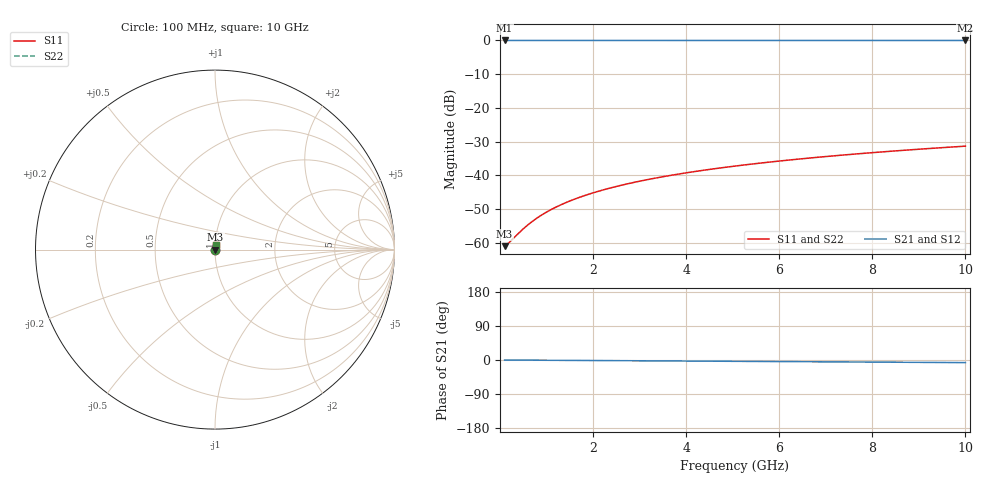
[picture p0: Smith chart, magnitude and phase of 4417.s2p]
# Hz S RI R 50.00
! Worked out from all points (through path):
!   100 points, 100 MHz to 10 GHz, reference 50 ohm
!   highest |S21| = -0.01 dB at 100 MHz (marker M1); lowest = 0.0 dB at 10 GHz (marker M2)
!   lowest |S11| = -61.0 dB at 100 MHz (marker M3), VSWR 1.00, Z = 50.1 + j0.0271 ohm
!   |S11| at or under -10 dB: start of sweep to end of sweep
!   |S22| runs from -61.0 to -31.3 dB; largest |S21 - S12| = 0
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1e8  0.00085 0.00027  0.9991 -0.0012  0.9991 -0.0012  0.00085 0.00027
2e8  0.000856 0.000541  0.9991 -0.0024  0.9991 -0.0024  0.000856 0.000541
4e8  0.000867 0.00108  0.9991 -0.0048  0.9991 -0.0048  0.000867 0.00108
5e8  0.000872 0.00135  0.9991 -0.00601  0.9991 -0.00601  0.000872 0.00135
6e8  0.000878 0.00162  0.9991 -0.00721  0.9991 -0.00721  0.000878 0.00162
7e8  0.000884 0.00189  0.9991 -0.00841  0.9991 -0.00841  0.000884 0.00189
9e8  0.000898 0.00243  0.9991 -0.0108  0.9991 -0.0108  0.000898 0.00243
1.1e9  0.000914 0.00297  0.999 -0.0132  0.999 -0.0132  0.000914 0.00297
1.3e9  0.000932 0.00351  0.999 -0.0156  0.999 -0.0156  0.000932 0.00351
1.5e9  0.000952 0.00405  0.9989 -0.018  0.9989 -0.018  0.000952 0.00405
1.8e9  0.000987 0.00486  0.9989 -0.0216  0.9989 -0.0216  0.000987 0.00486
2.1e9  0.00103 0.00567  0.9988 -0.0252  0.9988 -0.0252  0.00103 0.00567
2.5e9  0.00109 0.00675  0.9986 -0.03  0.9986 -0.03  0.00109 0.00675
2.9e9  0.00116 0.00783  0.9984 -0.0348  0.9984 -0.0348  0.00116 0.00783
3.4e9  0.00127 0.00918  0.9982 -0.0408  0.9982 -0.0408  0.00127 0.00918
4.2e9  0.00147 0.0113  0.9977 -0.0504  0.9977 -0.0504  0.00147 0.0113
5.1e9  0.00175 0.0137  0.9971 -0.0613  0.9971 -0.0613  0.00175 0.0137
5.9e9  0.00204 0.0159  0.9964 -0.0709  0.9964 -0.0709  0.00204 0.0159
6.7e9  0.00237 0.018  0.9956 -0.0805  0.9956 -0.0805  0.00237 0.018
7.5e9  0.00274 0.0202  0.9947 -0.0901  0.9947 -0.0901  0.00274 0.0202
8.4e9  0.00321 0.0225  0.9936 -0.1009  0.9936 -0.1009  0.00321 0.0225
1e10  0.00417 0.0268  0.9914 -0.12  0.9914 -0.12  0.00417 0.0268
